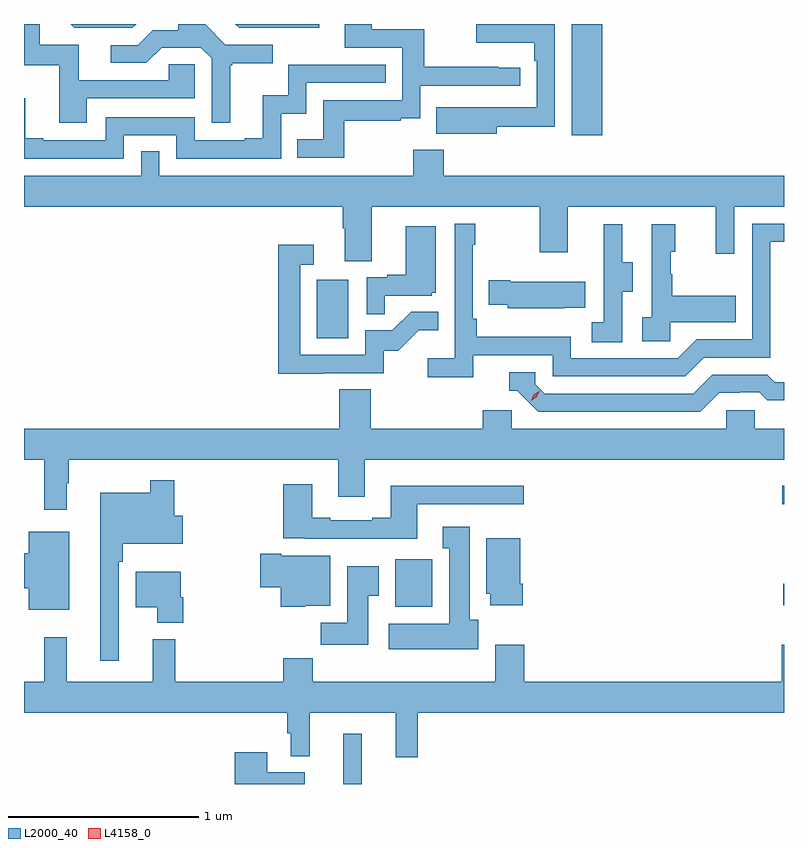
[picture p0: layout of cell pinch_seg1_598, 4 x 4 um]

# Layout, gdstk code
import gdstk
lib = gdstk.Library(unit=1e-6, precision=1e-09)
def R(c, l, rs):  # rectangles x0, y0, x1, y1
    for r in rs: c.add(gdstk.rectangle(r[:2], r[2:], *l))
def P(c, l, *ps):  # polygons
    for p in ps: c.add(gdstk.Polygon(p, *l))
L2000_40 = (2000, 40)
L4158_0 = (4158, 0)

pinch_seg1_598 = lib.new_cell('pinch_seg1_598')
R(pinch_seg1_598, L2000_40, [(1046.133,515.394,1046.23,515.659), (1046.405,516.326,1046.601,516.577), (1048.448,516.336,1048.452,516.448), (1048.443,516.867,1048.452,516.964), (1045.994,517.74,1046.158,518.047), (1047.335,518.808,1047.496,519.394)])
P(pinch_seg1_598, L2000_40, [(1046.137,518.886),(1046.435,518.886),(1046.435,518.897),(1046.538,518.897),(1046.538,519.069),(1047.064,519.069),(1047.064,519.165),(1046.951,519.165),(1046.951,519.17),(1046.558,519.17),(1046.558,519.366),(1046.281,519.366),(1046.281,519.394),(1046.141,519.394),(1046.141,519.27),(1046.442,519.27),(1046.442,518.994),(1046.026,518.994),(1046.026,518.788),(1045.891,518.788),(1045.891,518.691),(1046.137,518.691)],
  [(1045.537,519.177),(1045.549,519.177),(1045.549,519.188),(1045.762,519.188),(1045.762,519.285),(1045.512,519.285),(1045.405,519.392),(1045.405,519.394),(1045.265,519.394),(1045.265,519.362),(1045.13,519.362),(1045.05,519.282),(1044.909,519.282),(1044.909,519.189),(1045.096,519.189),(1045.177,519.27),(1045.383,519.27),(1045.44,519.213),(1045.44,518.874),(1045.537,518.874)],
  [(1046.941,518.854),(1047.246,518.854),(1047.246,519.394),(1046.832,519.394),(1046.832,519.296),(1047.137,519.296),(1047.137,519.2),(1047.15,519.2),(1047.15,518.955),(1046.837,518.955),(1046.837,518.956),(1046.623,518.956),(1046.623,518.816),(1046.941,518.816)],
  [(1044.781,519.003),(1045.35,519.003),(1045.35,519.183),(1045.213,519.183),(1045.213,519.099),(1044.739,519.099),(1044.739,519.285),(1044.534,519.285),(1044.534,519.394),(1044.452,519.394),(1044.452,519.177),(1044.637,519.177),(1044.637,518.874),(1044.781,518.874)],
  [(1046.005,519.394),(1045.565,519.394),(1045.584,519.375),(1045.8,519.375),(1045.8,519.374),(1046.005,519.374)],
  [(1045.042,519.394),(1044.698,519.394),(1044.717,519.375),(1045.023,519.375)],
  [(1044.978,518.808),(1045.254,518.808),(1045.254,518.685),(1045.806,518.685),(1045.806,518.921),(1045.938,518.921),(1045.938,519.084),(1046.357,519.084),(1046.357,519.18),(1045.842,519.18),(1045.842,519.019),(1045.709,519.019),(1045.709,518.794),(1045.613,518.794),(1045.613,518.781),(1045.35,518.781),(1045.35,518.904),(1044.882,518.904),(1044.882,518.781),(1044.553,518.781),(1044.553,518.794),(1044.458,518.794),(1044.458,519.002),(1044.452,519.002),(1044.452,518.685),(1044.978,518.685)],
  [(1045.068,518.723),(1045.068,518.596),(1044.452,518.596),(1044.452,518.432),(1046.129,518.432),(1046.129,518.32),(1046.141,518.32),(1046.141,518.146),(1046.281,518.146),(1046.281,518.432),(1047.166,518.432),(1047.166,518.193),(1047.313,518.193),(1047.313,518.432),(1048.094,518.432),(1048.094,518.184),(1048.191,518.184),(1048.191,518.432),(1048.452,518.432),(1048.452,518.596),(1046.66,518.596),(1046.66,518.731),(1046.5,518.731),(1046.5,518.596),(1045.164,518.596),(1045.164,518.723)],
  [(1046.816,517.65),(1047.234,517.65),(1047.234,517.539),(1047.931,517.539),(1048.03,517.638),(1048.38,517.638),(1048.38,518.247),(1048.452,518.247),(1048.452,518.343),(1048.284,518.343),(1048.284,517.734),(1047.993,517.734),(1047.894,517.635),(1047.33,517.635),(1047.33,517.747),(1046.834,517.747),(1046.834,517.843),(1046.814,517.843),(1046.814,518.231),(1046.827,518.231),(1046.827,518.344),(1046.718,518.344),(1046.718,517.636),(1046.577,517.636),(1046.577,517.534),(1046.816,517.534)],
  [(1047.852,517.823),(1048.199,517.823),(1048.199,517.963),(1047.865,517.963),(1047.865,518.078),(1047.855,518.078),(1047.855,518.196),(1047.88,518.196),(1047.88,518.341),(1047.756,518.341),(1047.756,517.85),(1047.705,517.85),(1047.705,517.725),(1047.852,517.725)],
  [(1047.6,517.984),(1047.655,517.984),(1047.655,518.139),(1047.601,518.139),(1047.601,518.341),(1047.503,518.341),(1047.503,518.127),(1047.504,518.127),(1047.504,517.823),(1047.441,517.823),(1047.441,517.72),(1047.6,517.72)],
  [(1046.351,517.965),(1046.598,517.965),(1046.598,517.98),(1046.62,517.98),(1046.62,518.329),(1046.462,518.329),(1046.462,518.074),(1046.363,518.074),(1046.363,518.061),(1046.256,518.061),(1046.256,517.867),(1046.351,517.867)],
  [(1046.027,517.557),(1046.346,517.557),(1046.346,517.674),(1046.422,517.674),(1046.529,517.781),(1046.633,517.781),(1046.633,517.88),(1046.489,517.88),(1046.391,517.782),(1046.247,517.782),(1046.247,517.653),(1045.905,517.653),(1045.905,518.127),(1045.978,518.127),(1045.978,518.233),(1045.789,518.233),(1045.789,517.552),(1046.027,517.552)],
  [(1047.299,517.901),(1047.407,517.901),(1047.407,518.038),(1047.01,518.038),(1047.01,518.046),(1046.899,518.046),(1046.899,517.916),(1046.997,517.916),(1046.997,517.898),(1047.299,517.898)],
  [(1048.111,517.452),(1048.218,517.452),(1048.218,517.455),(1048.321,517.455),(1048.363,517.413),(1048.452,517.413),(1048.452,517.509),(1048.402,517.509),(1048.363,517.548),(1048.074,517.548),(1047.975,517.449),(1047.192,517.449),(1047.144,517.497),(1047.144,517.56),(1047.005,517.56),(1047.005,517.464),(1047.048,517.464),(1047.159,517.353),(1048.012,517.353)],
  [(1044.676,516.977),(1044.688,516.977),(1044.688,517.1),(1046.105,517.1),(1046.105,516.906),(1046.245,516.906),(1046.245,517.1),(1048.452,517.1),(1048.452,517.264),(1048.299,517.264),(1048.299,517.362),(1048.149,517.362),(1048.149,517.264),(1047.018,517.264),(1047.018,517.362),(1046.867,517.362),(1046.867,517.264),(1046.276,517.264),(1046.276,517.472),(1046.111,517.472),(1046.111,517.264),(1044.452,517.264),(1044.452,517.1),(1044.559,517.1),(1044.559,516.837),(1044.676,516.837)],
  [(1044.951,516.563),(1044.971,516.563),(1044.971,516.659),(1045.288,516.659),(1045.288,516.807),(1045.244,516.807),(1045.244,516.994),(1045.116,516.994),(1045.116,516.928),(1044.854,516.928),(1044.854,516.042),(1044.951,516.042)],
  [(1046.521,516.867),(1047.082,516.867),(1047.082,516.964),(1046.381,516.964),(1046.381,516.796),(1046.285,516.796),(1046.285,516.783),(1046.065,516.783),(1046.065,516.796),(1045.969,516.796),(1045.969,516.972),(1045.817,516.972),(1045.817,516.687),(1045.933,516.687),(1045.933,516.686),(1046.521,516.686)],
  [(1046.842,516.258),(1046.797,516.258),(1046.797,516.748),(1046.657,516.748),(1046.657,516.635),(1046.69,516.635),(1046.69,516.238),(1046.373,516.238),(1046.373,516.104),(1046.842,516.104)],
  [(1044.691,516.721),(1044.476,516.721),(1044.476,516.608),(1044.452,516.608),(1044.452,516.425),(1044.476,516.425),(1044.476,516.311),(1044.691,516.311)],
  [(1047.077,516.448),(1047.064,516.448),(1047.064,516.688),(1046.885,516.688),(1046.885,516.396),(1046.906,516.396),(1046.906,516.336),(1047.077,516.336)],
  [(1045.932,516.332),(1046.065,516.332),(1046.065,516.595),(1045.807,516.595),(1045.807,516.607),(1045.695,516.607),(1045.695,516.43),(1045.802,516.43),(1045.802,516.326),(1045.932,516.326)],
  [(1046.263,516.385),(1046.32,516.385),(1046.32,516.541),(1046.153,516.541),(1046.153,516.244),(1046.014,516.244),(1046.014,516.126),(1046.263,516.126)],
  [(1045.289,516.378),(1045.276,516.378),(1045.276,516.511),(1045.04,516.511),(1045.04,516.323),(1045.154,516.323),(1045.154,516.242),(1045.289,516.242)],
  [(1046.525,515.768),(1048.452,515.768),(1048.452,516.127),(1048.439,516.127),(1048.439,515.932),(1047.086,515.932),(1047.086,516.127),(1046.933,516.127),(1046.933,515.932),(1045.973,515.932),(1045.973,516.056),(1045.817,516.056),(1045.817,515.932),(1045.247,515.932),(1045.247,516.157),(1045.13,516.157),(1045.13,515.932),(1044.677,515.932),(1044.677,516.166),(1044.559,516.166),(1044.559,515.932),(1044.452,515.932),(1044.452,515.768),(1045.837,515.768),(1045.837,515.661),(1045.857,515.661),(1045.857,515.54),(1045.955,515.54),(1045.955,515.768),(1046.408,515.768),(1046.408,515.535),(1046.525,515.535)],
  [(1045.93,515.455),(1045.732,515.455),(1045.732,515.56),(1045.562,515.56),(1045.562,515.394),(1045.93,515.394)])
P(pinch_seg1_598, L4158_0, [(1047.121,517.411),(1047.121,517.411),(1047.136,517.444),(1047.167,517.464),(1047.167,517.464),(1047.167,517.464),(1047.151,517.431),(1047.121,517.411)])

lib.write_gds('pinch_seg1_598.gds')
